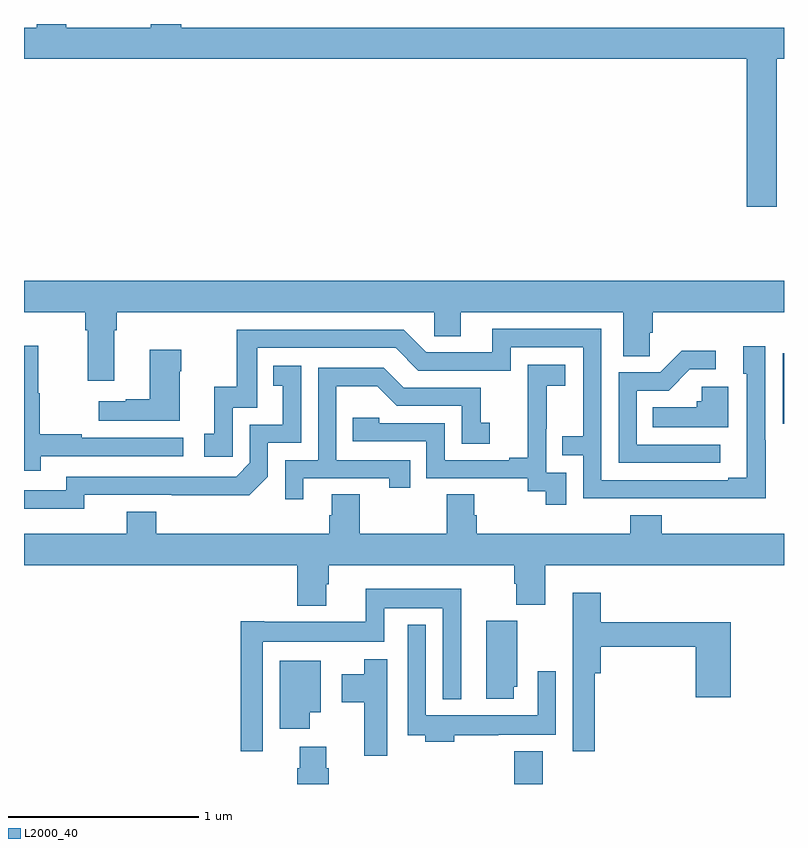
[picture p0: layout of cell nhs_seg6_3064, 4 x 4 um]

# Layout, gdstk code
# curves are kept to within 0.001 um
import gdstk
lib = gdstk.Library(unit=1e-6, precision=1e-09)
def R(c, l, rs):  # rectangles x0, y0, x1, y1
    for r in rs: c.add(gdstk.rectangle(r[:2], r[2:], *l))
def P(c, l, *ps):  # polygons
    for p in ps: c.add(gdstk.Polygon(p, *l))
L2000_40 = (2000, 40)

nhs_seg6_3064 = lib.new_cell('nhs_seg6_3064')
R(nhs_seg6_3064, L2000_40, [(293.579,963.5,293.731,963.673), (294.993,965.397,295,965.766)])
P(nhs_seg6_3064, L2000_40, [(294.963,967.316),(295,967.316),(295,967.48),(291.827,967.48),(291.827,967.5),(291.667,967.5),(291.667,967.48),(291.222,967.48),(291.222,967.5),(291.067,967.5),(291.067,967.48),(291,967.48),(291,967.316),(294.803,967.316),(294.803,966.537),(294.963,966.537)],
  [(291.475,965.888),(291.488,965.888),(291.488,965.984),(293.16,965.984),(293.16,965.857),(293.299,965.857),(293.299,965.984),(294.155,965.984),(294.155,965.752),(294.294,965.752),(294.294,965.875),(294.308,965.875),(294.308,965.984),(295,965.984),(295,966.148),(291,966.148),(291,965.984),(291.323,965.984),(291.323,965.888),(291.335,965.888),(291.335,965.622),(291.475,965.622)],
  [(294.903,965.309),(294.9,965.309),(294.9,965.803),(294.785,965.803),(294.785,965.658),(294.804,965.658),(294.804,965.113),(294.707,965.113),(294.707,965.1),(294.039,965.1),(294.039,965.895),(293.465,965.895),(293.465,965.772),(293.118,965.772),(292.998,965.892),(292.119,965.892),(292.119,965.59),(292.001,965.59),(292.001,965.343),(291.948,965.343),(291.948,965.223),(292.098,965.223),(292.098,965.481),(292.227,965.481),(292.227,965.796),(292.956,965.796),(293.076,965.676),(293.562,965.676),(293.562,965.799),(293.943,965.799),(293.943,965.33),(293.833,965.33),(293.833,965.229),(293.943,965.229),(293.943,965.004),(294.903,965.003)],
  [(291.089,965.226),(291.838,965.226),(291.838,965.322),(291.305,965.322),(291.305,965.342),(291.082,965.342),(291.082,965.556),(291.074,965.556),(291.074,965.806),(291,965.806),(291,965.148),(291.089,965.148)],
  [(291.82,965.672),(291.828,965.672),(291.828,965.785),(291.662,965.785),(291.662,965.525),(291.536,965.525),(291.536,965.515),(291.393,965.515),(291.393,965.411),(291.82,965.411)],
  [(294.664,965.286),(294.225,965.286),(294.225,965.571),(294.394,965.571),(294.505,965.682),(294.64,965.682),(294.64,965.78),(294.461,965.78),(294.348,965.667),(294.129,965.667),(294.129,965.19),(294.664,965.19)],
  [(293.853,965.139),(293.748,965.139),(293.748,965.369),(293.75,965.369),(293.75,965.597),(293.848,965.597),(293.848,965.707),(293.65,965.707),(293.65,965.501),(293.651,965.501),(293.651,965.218),(293.555,965.218),(293.555,965.205),(293.214,965.205),(293.214,965.4),(292.869,965.4),(292.869,965.427),(292.729,965.427),(292.729,965.304),(293.118,965.304),(293.118,965.109),(293.652,965.109),(293.652,965.041),(293.745,965.041),(293.745,964.971),(293.853,964.971)],
  [(291.318,965.022),(292.186,965.021),(292.284,965.118),(292.284,965.295),(292.458,965.295),(292.458,965.701),(292.312,965.701),(292.312,965.595),(292.361,965.595),(292.361,965.391),(292.188,965.391),(292.188,965.19),(292.116,965.118),(291.222,965.118),(291.222,965.046),(291,965.046),(291,964.949),(291.318,964.949)],
  [(292.471,965.109),(292.922,965.109),(292.922,965.058),(293.033,965.058),(293.033,965.205),(292.644,965.205),(292.644,965.594),(292.858,965.594),(292.962,965.49),(293.304,965.49),(293.304,965.292),(293.452,965.292),(293.452,965.401),(293.403,965.401),(293.403,965.586),(292.999,965.586),(292.894,965.691),(292.548,965.691),(292.548,965.205),(292.374,965.205),(292.374,964.998),(292.471,964.998)],
  [(294.706,965.59),(294.567,965.59),(294.567,965.514),(294.541,965.514),(294.541,965.482),(294.31,965.482),(294.31,965.378),(294.706,965.378)],
  [(292.591,964.551),(292.604,964.551),(292.604,964.652),(293.579,964.652),(293.579,964.553),(293.591,964.553),(293.591,964.444),(293.744,964.444),(293.744,964.652),(295,964.652),(295,964.816),(294.356,964.816),(294.356,964.915),(294.191,964.915),(294.191,964.816),(293.384,964.816),(293.384,964.914),(293.371,964.914),(293.371,965.024),(293.224,965.024),(293.224,964.816),(292.767,964.816),(292.767,965.024),(292.619,965.024),(292.619,964.914),(292.607,964.914),(292.607,964.816),(291.695,964.816),(291.695,964.933),(291.542,964.933),(291.542,964.816),(291,964.816),(291,964.652),(292.439,964.652),(292.439,964.439),(292.591,964.439)],
  [(292.257,964.25),(292.896,964.25),(292.896,964.424),(293.205,964.424),(293.205,963.947),(293.302,963.947),(293.302,964.528),(292.799,964.528),(292.799,964.354),(292.264,964.354),(292.264,964.357),(292.141,964.357),(292.141,963.672),(292.257,963.672)],
  [(294.005,964.082),(294.035,964.082),(294.035,964.222),(294.536,964.222),(294.536,963.957),(294.719,963.957),(294.719,964.351),(294.035,964.351),(294.035,964.507),(293.888,964.507),(293.888,964.245),(293.889,964.245),(293.889,963.672),(294.005,963.672)],
  [(293.578,964.011),(293.596,964.011),(293.596,964.359),(293.432,964.359),(293.432,963.948),(293.578,963.948)],
  [(293.264,963.756),(293.495,963.756),(293.495,963.758),(293.799,963.758),(293.799,964.093),(293.703,964.093),(293.703,963.862),(293.115,963.862),(293.115,964.339),(293.019,964.339),(293.019,963.756),(293.111,963.756),(293.111,963.722),(293.264,963.722)],
  [(292.912,964.156),(292.79,964.156),(292.79,964.078),(292.673,964.078),(292.673,963.931),(292.79,963.931),(292.79,963.648),(292.912,963.648)],
  [(292.504,963.878),(292.561,963.878),(292.561,964.15),(292.346,964.15),(292.346,963.792),(292.504,963.792)],
  [(292.604,963.582),(292.591,963.582),(292.591,963.697),(292.451,963.697),(292.451,963.582),(292.439,963.582),(292.439,963.5),(292.604,963.5)])

lib.write_gds('nhs_seg6_3064.gds')
